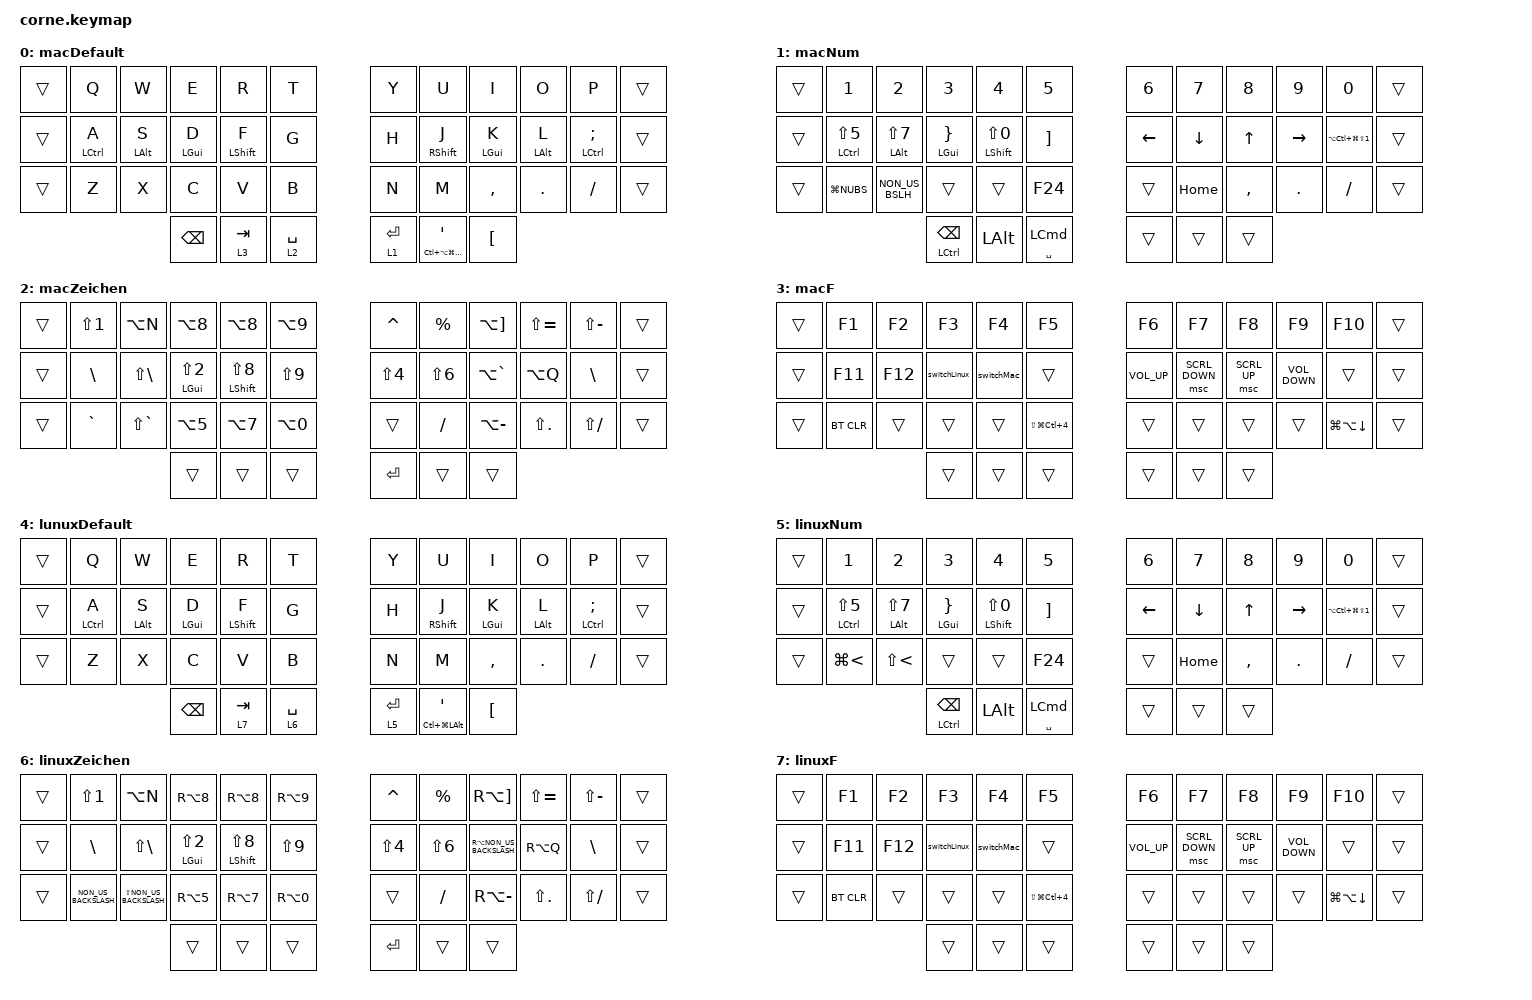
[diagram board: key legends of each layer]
/*
* Copyright (c) 2020 The ZMK Contributors
*
* SPDX-License-Identifier: MIT
*/

#include <behaviors.dtsi>
#include <dt-bindings/zmk/bt.h>
#include <dt-bindings/zmk/keys.h>
#include <dt-bindings/zmk/pointing.h>



&msc {
  x-input-code = <INPUT_REL_HWHEEL>;
  y-input-code = <INPUT_REL_WHEEL>;
  time-to-max-speed-ms = <0>;
  acceleration-exponent = <0>;
};

&tog {
};

/ {
  behaviors {
    hmr: hmr {
      compatible = "zmk,behavior-hold-tap";
      label = "HMR";
      bindings = <&kp>, <&kp>;

      #binding-cells = <2>;
      hold-trigger-key-positions = <6 7 8 9 10 18 19 20 21 22 30 31 32 33 34 39 40 41>;
      tapping-term-ms = <120>;
      quick-tap-ms = <120>;
      flavor = "balanced";
      hold-trigger-on-release;
    };

    hml: hml {
      compatible = "zmk,behavior-hold-tap";
      label = "HML";
      bindings = <&kp>, <&kp>;

      #binding-cells = <2>;
      tapping-term-ms = <120>;
      quick-tap-ms = <120>;
      flavor = "balanced";
      hold-trigger-on-release;
      hold-trigger-key-positions = <0 1 2 4 5 12 13 14 15 16 17 24 25 26 27 28 29 36 37 38 3>;
    };

    scroll_down_fast: scroll_down_fast {
      compatible = "zmk,behavior-repeat";
      label = "ScrollDownFast";
      delay-ms = <50>;
      interval-ms = <20>;
      bindings = <&msc SCRL_DOWN>;
    };

    scroll_down_fast: scroll_down_fast {
      compatible = "zmk,behavior-repeat";
      label = "ScrollDownFast";
      delay-ms = <50>;
      interval-ms = <20>;
      bindings = <&msc SCRL_DOWN>;
    };


  };

  combos {
    compatible = "zmk,combos";

    Escape {
      bindings = <&kp ESCAPE>;
      key-positions = <16 15>;
      layers = <0 4 1 2 3 5 6 7>;
    };

    AE {
      bindings = <&kp ESCAPE>;
      key-positions = <19 20>;
      layers = <4 0 1 2 3 5 6 7>;
    };

    UE {
      bindings = <&kp DELETE>;
      key-positions = <20 21>;
    };

    SZ {
      bindings = <&kp MINUS>;
      key-positions = <7 8>;
    };
  };

  macros {
    Mail: Mail {
      compatible = "zmk,behavior-macro";
      #binding-cells = <0>;
      bindings = <&kp A &kp R &kp N6 &kp N0 &kp N3 &kp N8 &kp N9 &kp LA(L) &kp G &kp O &kp O &kp G &kp L &kp E &kp M &kp A &kp I &kp L &kp DOT &kp C &kp O &kp M>;
      label = "MAIL";
    };

    Anschreiben: Anschreiben {
      compatible = "zmk,behavior-macro";
      #binding-cells = <0>;
      bindings = <&kp LS(S) &kp E &kp H &kp R &kp SPACE &kp G &kp E &kp E &kp H &kp R &kp T &kp E &kp SPACE &kp LS(D) &kp A &kp M &kp E &kp N &kp SPACE &kp U &kp N &kp D &kp SPACE &kp LS(H) &kp E &kp R &kp R &kp E &kp N &kp COMMA &kp RET>;
      label = "ANSCHREIBEN";
    };

    mfg: mfg {
      compatible = "zmk,behavior-macro";
      #binding-cells = <0>;
      bindings = <&none &kp LS(M) &kp I &kp T &kp SPACE &kp F &kp R &kp E &kp U &kp N &kp D &kp L &kp I &kp C &kp H &kp E &kp N &kp SPACE &kp G &kp R &kp LBKT &kp MINUS &kp E &kp N &kp SPACE &kp RET &kp LS(A) &kp L &kp E &kp X &kp A &kp N &kp D &kp E &kp R &kp SPACE &kp LS(R) &kp O &kp M &kp A &kp N>;
      label = "MFG";
    };

    switchMac: switchMac {
      compatible = "zmk,behavior-macro";
      #binding-cells = <0>;
      bindings = <&bt BT_SEL 0 &tog 0>;
      label = "SWITCHMAC";
    };

    switchLinux: switchLinux {
      compatible = "zmk,behavior-macro";
      #binding-cells = <0>;
      bindings = <&bt BT_SEL 1 &tog 4>;
      label = "SWITCHLINUX";
    };
  };

  keymap {
    compatible = "zmk,keymap";

    macDefault {
      // -----------------------------------------------------------------------------------------
      // |  TAB |  Q  |  W  |  E  |  R  |  T  |   |  Y  |  U   |  I  |  O  |  P  | BSPC |
      // | CTRL |  A  |  S  |  D  |  F  |  G  |   |  H  |  J   |  K  |  L  |  ;  |  '   |
      // | SHFT |  Z  |  X  |  C  |  V  |  B  |   |  N  |  M   |  ,  |  .  |  /  | ESC  |
      //                    | GUI | LWR | SPC |   | ENT | RSE  | ALT |

      bindings = <
        &trans  &kp Q                &kp W        &kp E          &kp R              &kp T          &kp Y        &kp U                       &kp I             &kp O        &kp P                 &trans
        &trans  &hml LEFT_CONTROL A  &hml LALT S  &hml LGUI D    &hml LEFT_SHIFT F  &kp G          &kp H        &hmr RIGHT_SHIFT J          &hmr LGUI K       &hmr LALT L  &hmr LCTRL SEMICOLON  &trans
        &trans  &kp Z                &kp X        &kp C          &kp V              &kp B          &kp N        &kp M                       &kp COMMA         &kp PERIOD   &kp SLASH             &trans
        &kp BACKSPACE  &lt 3 TAB          &lt 2 SPACE    &lt 1 ENTER  &hmr LC(LA(LG(RSHFT))) SQT  &kp LEFT_BRACKET
      >;
    };

    macNum {
      // -----------------------------------------------------------------------------------------
      // |  TAB |  1  |  2  |  3  |  4  |  5  |   |  6  |  7  |  8  |  9  |  0  | BSPC |
      // | BTCLR| BT1 | BT2 | BT3 | BT4 | BT5 |   | LFT | DWN |  UP | RGT |     |      |
      // | SHFT |     |     |     |     |     |   |     |     |     |     |     |      |
      //                    | GUI |     | SPC |   | ENT |     | ALT |

      bindings = <
        &trans  &kp N1                    &kp N2                &kp N3                       &kp N4                  &kp N5                     &kp N6    &kp N7    &kp N8     &kp N9      &kp N0                  &trans
        &trans  &hmr LEFT_CONTROL LS(N5)  &hmr LEFT_ALT LS(N7)  &hmr LEFT_GUI RIGHT_BRACE    &hml LEFT_SHIFT LS(N0)  &kp RIGHT_BRACKET          &kp LEFT  &kp DOWN  &kp UP     &kp RIGHT   &kp LA(LC(LG(LS(N1))))  &trans
        &trans  &kp LG(NUBS)              &kp NON_US_BSLH       &trans                       &trans                  &kp F24                    &trans    &kp HOME  &kp COMMA  &kp PERIOD  &kp SLASH               &trans
        &hml LEFT_CONTROL BACKSPACE  &kp LEFT_ALT            &hml SPACE LEFT_COMMAND    &trans    &trans    &trans
      >;
    };

    macZeichen {
      // -----------------------------------------------------------------------------------------
      // |  TAB |  !  |  @  |  #  |  $  |  %  |   |  ^  |  &  |  *  |  (  |  )  | BSPC |
      // | CTRL |     |     |     |     |     |   |  -  |  =  |  [  |  ]  |  \  |  `   |
      // | SHFT |     |     |     |     |     |   |  _  |  +  |  {  |  }  | "|" |  ~   |
      //                    | GUI |     | SPC |   | ENT |     | ALT |

      bindings = <
        &trans  &kp LS(NUMBER_1)  &kp LA(N)          &kp LA(N8)                  &kp LA(N8)              &kp LA(N9)    &kp CARET         &kp PERCENT       &kp LA(RIGHT_BRACKET)  &kp LS(EQUAL)   &kp LS(MINUS)  &trans
        &trans  &kp BACKSLASH     &kp LS(BACKSLASH)  &hml LEFT_GUI LS(NUMBER_2)  &hml LEFT_SHIFT LS(N8)  &kp LS(N9)    &kp LS(NUMBER_4)  &kp LS(NUMBER_6)  &kp LA(GRAVE)          &kp LA(Q)       &kp BACKSLASH  &trans
        &trans  &kp GRAVE         &kp LS(GRAVE)      &kp LA(N5)                  &kp LA(N7)              &kp LA(N0)    &trans            &kp SLASH         &kp LA(MINUS)          &kp LS(PERIOD)  &kp LS(SLASH)  &trans
        &trans                      &trans                  &trans        &kp RET           &trans            &trans
      >;
    };

    macF {
      bindings = <
        &trans  &kp F1      &kp F2   &kp F3        &kp F4      &kp F5                      &kp F6           &kp F7          &kp F8        &kp F9             &kp F10                 &trans
        &trans  &kp F11     &kp F12  &switchLinux  &switchMac  &trans                      &kp C_VOLUME_UP  &msc SCRL_DOWN  &msc SCRL_UP  &kp C_VOLUME_DOWN  &trans                  &trans
        &trans  &bt BT_CLR  &trans   &trans        &trans      &kp LS(LG(LC(NUMBER_4)))    &trans           &trans          &trans        &trans             &kp LG(LA(DOWN_ARROW))  &trans
        &trans        &trans      &trans                      &trans           &trans          &trans
      >;
    };

    lunuxDefault {
      bindings = <
        &trans  &kp Q                &kp W        &kp E          &kp R              &kp T          &kp Y        &kp U                  &kp I             &kp O        &kp P                 &trans
        &trans  &hml LEFT_CONTROL A  &hml LALT S  &hml LGUI D    &hml LEFT_SHIFT F  &kp G          &kp H        &hmr RIGHT_SHIFT J     &hmr LGUI K       &hmr LALT L  &hmr LCTRL SEMICOLON  &trans
        &trans  &kp Z                &kp X        &kp C          &kp V              &kp B          &kp N        &kp M                  &kp COMMA         &kp PERIOD   &kp SLASH             &trans
        &kp BACKSPACE  &lt 7 TAB          &lt 6 SPACE    &lt 5 ENTER  &hmr LC(LG(LALT)) SQT  &kp LEFT_BRACKET
      >;
    };

    linuxNum {
      bindings = <
        &trans  &kp N1                    &kp N2                &kp N3                       &kp N4                  &kp N5                     &kp N6    &kp N7    &kp N8     &kp N9      &kp N0                  &trans
        &trans  &hmr LEFT_CONTROL LS(N5)  &hmr LEFT_ALT LS(N7)  &hmr LEFT_GUI RIGHT_BRACE    &hml LEFT_SHIFT LS(N0)  &kp RIGHT_BRACKET          &kp LEFT  &kp DOWN  &kp UP     &kp RIGHT   &kp LA(LC(LG(LS(N1))))  &trans
        &trans  &kp LG(LESS_THAN)         &kp LS(LESS_THAN)     &trans                       &trans                  &kp F24                    &trans    &kp HOME  &kp COMMA  &kp PERIOD  &kp SLASH               &trans
        &hml LEFT_CONTROL BACKSPACE  &kp LEFT_ALT            &hml SPACE LEFT_COMMAND    &trans    &trans    &trans
      >;
    };

    linuxZeichen {
      bindings = <
        &trans  &kp LS(NUMBER_1)      &kp LA(N)                 &kp RA(N8)                  &kp RA(N8)              &kp RA(N9)    &kp CARET         &kp PERCENT       &kp RA(RIGHT_BRACKET)     &kp LS(EQUAL)   &kp LS(MINUS)  &trans
        &trans  &kp BACKSLASH         &kp LS(BACKSLASH)         &hml LEFT_GUI LS(NUMBER_2)  &hml LEFT_SHIFT LS(N8)  &kp LS(N9)    &kp LS(NUMBER_4)  &kp LS(NUMBER_6)  &kp RA(NON_US_BACKSLASH)  &kp RA(Q)       &kp BACKSLASH  &trans
        &trans  &kp NON_US_BACKSLASH  &kp LS(NON_US_BACKSLASH)  &kp RA(N5)                  &kp RA(N7)              &kp RA(N0)    &trans            &kp SLASH         &kp RA(MINUS)             &kp LS(PERIOD)  &kp LS(SLASH)  &trans
        &trans                      &trans                  &trans        &kp RET           &trans            &trans
      >;
    };

    linuxF {
      bindings = <
        &trans  &kp F1      &kp F2   &kp F3        &kp F4      &kp F5                      &kp F6           &kp F7          &kp F8        &kp F9             &kp F10                 &trans
        &trans  &kp F11     &kp F12  &switchLinux  &switchMac  &trans                      &kp C_VOLUME_UP  &msc SCRL_DOWN  &msc SCRL_UP  &kp C_VOLUME_DOWN  &trans                  &trans
        &trans  &bt BT_CLR  &trans   &trans        &trans      &kp LS(LG(LC(NUMBER_4)))    &trans           &trans          &trans        &trans             &kp LG(LA(DOWN_ARROW))  &trans
        &trans        &trans      &trans                      &trans           &trans          &trans
      >;
    };
  };
};
